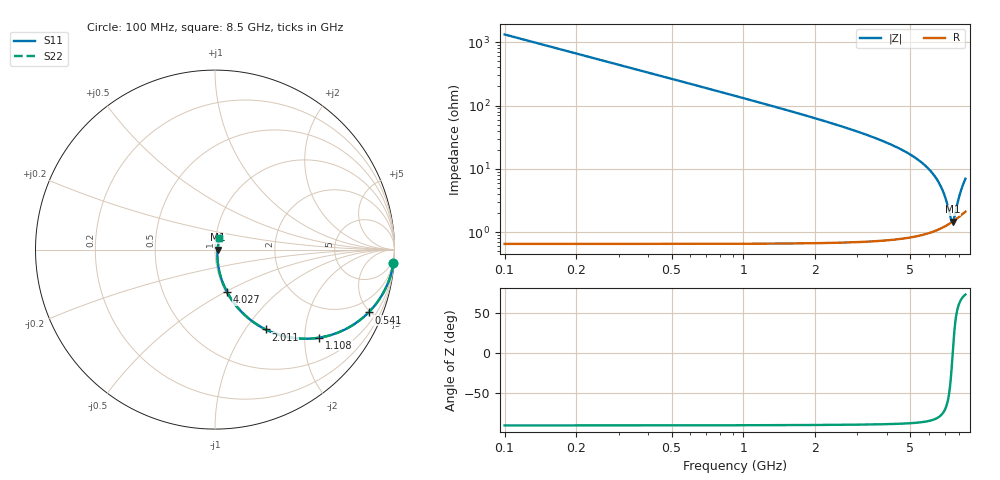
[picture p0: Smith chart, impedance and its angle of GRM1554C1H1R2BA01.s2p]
!Murata Part Number: GRM1554C1H1R2BA01
!These Parameters are Measured in Series Mode Connection
!Data Generated on Mar 30, 2021
!  o--ll--o
!Port1  Port2
!  o------o
!Operation Temp=25[degC], DC Bias Voltage=0[V]
!Freq. Start=100[MHz] Stop=9[GHz] 401[Steps]
# Hz S RI R 50
!Freq.(Hz) S11(Real) S11(Imag) S21(Real) S21(Imag) S12(Real) S12(Imag) S22(Real) S22(Imag)
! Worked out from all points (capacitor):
!   401 points, 100 MHz to 8.5 GHz, reference 50 ohm
!   read as one part in series: C = 1.2 pF near 142 MHz
!   lowest |Z| = 1.46 ohm at 7.513 GHz (marker M1)
!   series resonance near 7.52 GHz, so ESL is about 370 pH
!   S11 on the Smith chart (normalised r, x): 100 MHz: 1, -27; 541 MHz: 1.01, -4.88; 1.108 GHz: 1.01, -2.36; 2.011 GHz: 1.01, -1.25; 4.027 GHz: 1.01, -0.51; 8.5 GHz: 1.04, +0.13
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1e8  0.9943 -0.075  0.00569 0.075  0.00569 0.075  0.9943 -0.075
2.05e8  0.9765 -0.151  0.0235 0.151  0.0235 0.151  0.9765 -0.151
2.89e8  0.9543 -0.2081  0.0457 0.2081  0.0457 0.2081  0.9543 -0.2081
3.94e8  0.9182 -0.2732  0.0818 0.2732  0.0818 0.2732  0.9182 -0.2732
5.41e8  0.8557 -0.35  0.1443 0.35  0.1443 0.35  0.8557 -0.35
7.93e8  0.7326 -0.4406  0.2674 0.4406  0.2674 0.4406  0.7326 -0.4406
1.108e9  0.5806 -0.4907  0.4194 0.4907  0.4194 0.4907  0.5806 -0.4907
1.507e9  0.4221 -0.49  0.5779 0.49  0.5779 0.49  0.4221 -0.49
2.011e9  0.2823 -0.4448  0.7177 0.4448  0.7177 0.4448  0.2823 -0.4448
2.914e9  0.1437 -0.3423  0.8563 0.3423  0.8563 0.3423  0.1437 -0.3423
4.027e9  0.0667 -0.2353  0.9333 0.2353  0.9333 0.2353  0.0667 -0.2353
4.3e9  0.0555 -0.2128  0.9445 0.2128  0.9445 0.2128  0.0555 -0.2128
5.707e9  0.0221 -0.1129  0.9779 0.1129  0.9779 0.1129  0.0221 -0.1129
6.169e9  0.017 -0.0835  0.983 0.0835  0.983 0.0835  0.017 -0.0835
6.547e9  0.0145 -0.0601  0.9855 0.0601  0.9855 0.0601  0.0145 -0.0601
6.862e9  0.0134 -0.0407  0.9866 0.0407  0.9866 0.0407  0.0134 -0.0407
7.114e9  0.0133 -0.0252  0.9867 0.0252  0.9867 0.0252  0.0133 -0.0252
7.387e9  0.0139 -0.00832  0.9861 0.00832  0.9861 0.00832  0.0139 -0.00832
7.513e9  0.0144 -0.000465  0.9856 0.000465  0.9856 0.000465  0.0144 -0.000465
7.618e9  0.015 0.00612  0.985 -0.00612  0.985 -0.00612  0.015 0.00612
8.08e9  0.0189 0.0356  0.9811 -0.0356  0.9811 -0.0356  0.0189 0.0356
8.5e9  0.0247 0.0635  0.9753 -0.0635  0.9753 -0.0635  0.0247 0.0635
